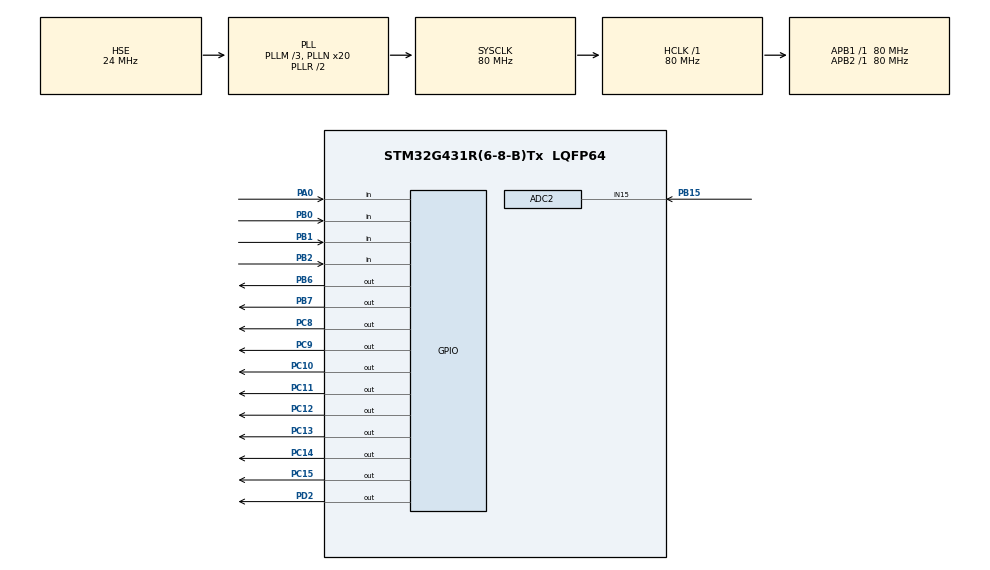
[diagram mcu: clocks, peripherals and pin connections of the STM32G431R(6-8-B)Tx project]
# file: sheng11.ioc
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ADC2.Channel-0\#ChannelRegularConversion=ADC_CHANNEL_15
ADC2.NbrOfConversionFlag=1
ADC2.OffsetNumber-0\#ChannelRegularConversion=ADC_OFFSET_NONE
ADC2.Rank-0\#ChannelRegularConversion=1
ADC2.SamplingTime-0\#ChannelRegularConversion=ADC_SAMPLETIME_2CYCLES_5
Mcu.Family=STM32G4
Mcu.Name=STM32G431R(6-8-B)Tx
Mcu.Package=LQFP64
NVIC.PriorityGroup=NVIC_PRIORITYGROUP_4
NVIC.TIM4_IRQn=true\:0\:0\:false\:false\:true\:true\:true\:true
NVIC.TIM6_DAC_IRQn=true\:0\:0\:false\:false\:true\:true\:true\:true
PA0.GPIO_Mode=GPIO_MODE_INPUT
PA0.GPIO_PuPd=GPIO_PULLUP
PA0.Signal=GPIO_Input
PA13.Mode=Serial_Wire
PA13.Signal=SYS_JTMS-SWDIO
PA14.Mode=Serial_Wire
PA14.Signal=SYS_JTCK-SWCLK
PB0.GPIO_Mode=GPIO_MODE_INPUT
PB0.GPIO_PuPd=GPIO_PULLUP
PB0.Signal=GPIO_Input
PB1.GPIO_Mode=GPIO_MODE_INPUT
PB1.GPIO_PuPd=GPIO_PULLUP
PB1.Signal=GPIO_Input
PB15.Mode=IN15-Single-Ended
PB15.Signal=ADC2_IN15
PB2.GPIO_Mode=GPIO_MODE_INPUT
PB2.GPIO_PuPd=GPIO_PULLUP
PB2.Signal=GPIO_Input
PB6.Signal=GPIO_Output
PB7.Signal=GPIO_Output
PC10.GPIO_ModeDefaultOutputPP=GPIO_MODE_OUTPUT_PP
PC10.GPIO_PuPd=GPIO_NOPULL
PC10.GPIO_Speed=GPIO_SPEED_FREQ_LOW
PC10.PinState=GPIO_PIN_SET
PC10.Signal=GPIO_Output
PC11.GPIO_ModeDefaultOutputPP=GPIO_MODE_OUTPUT_PP
PC11.GPIO_PuPd=GPIO_NOPULL
PC11.GPIO_Speed=GPIO_SPEED_FREQ_LOW
PC11.PinState=GPIO_PIN_SET
PC11.Signal=GPIO_Output
PC12.GPIO_ModeDefaultOutputPP=GPIO_MODE_OUTPUT_PP
PC12.GPIO_PuPd=GPIO_NOPULL
PC12.GPIO_Speed=GPIO_SPEED_FREQ_LOW
PC12.PinState=GPIO_PIN_SET
PC12.Signal=GPIO_Output
PC13.GPIO_ModeDefaultOutputPP=GPIO_MODE_OUTPUT_PP
PC13.GPIO_PuPd=GPIO_NOPULL
PC13.GPIO_Speed=GPIO_SPEED_FREQ_LOW
PC13.PinState=GPIO_PIN_SET
PC13.Signal=GPIO_Output
PC14-OSC32_IN.GPIO_ModeDefaultOutputPP=GPIO_MODE_OUTPUT_PP
PC14-OSC32_IN.GPIO_PuPd=GPIO_NOPULL
PC14-OSC32_IN.GPIO_Speed=GPIO_SPEED_FREQ_LOW
PC14-OSC32_IN.PinState=GPIO_PIN_SET
PC14-OSC32_IN.Signal=GPIO_Output
PC15-OSC32_OUT.GPIO_ModeDefaultOutputPP=GPIO_MODE_OUTPUT_PP
PC15-OSC32_OUT.GPIO_PuPd=GPIO_NOPULL
PC15-OSC32_OUT.GPIO_Speed=GPIO_SPEED_FREQ_LOW
PC15-OSC32_OUT.PinState=GPIO_PIN_SET
PC15-OSC32_OUT.Signal=GPIO_Output
PC8.GPIO_ModeDefaultOutputPP=GPIO_MODE_OUTPUT_PP
PC8.GPIO_PuPd=GPIO_NOPULL
PC8.GPIO_Speed=GPIO_SPEED_FREQ_LOW
PC8.PinState=GPIO_PIN_SET
PC8.Signal=GPIO_Output
PC9.GPIO_ModeDefaultOutputPP=GPIO_MODE_OUTPUT_PP
PC9.GPIO_PuPd=GPIO_NOPULL
PC9.GPIO_Speed=GPIO_SPEED_FREQ_LOW
PC9.PinState=GPIO_PIN_SET
PC9.Signal=GPIO_Output
PD2.Signal=GPIO_Output
PF0-OSC_IN.Mode=HSE-External-Oscillator
PF0-OSC_IN.Signal=RCC_OSC_IN
PF1-OSC_OUT.Mode=HSE-External-Oscillator
PF1-OSC_OUT.Signal=RCC_OSC_OUT
ProjectManager.HeapSize=0x200
ProjectManager.StackSize=0x400
ProjectManager.TargetToolchain=MDK-ARM V5.32
RCC.ADC12Freq_Value=80000000
RCC.AHBFreq_Value=80000000
RCC.APB1Freq_Value=80000000
RCC.APB1TimFreq_Value=80000000
RCC.APB2Freq_Value=80000000
RCC.APB2TimFreq_Value=80000000
RCC.CortexFreq_Value=80000000
RCC.EXTERNAL_CLOCK_VALUE=12288000
RCC.HCLKFreq_Value=80000000
RCC.HSE_VALUE=24000000
RCC.HSI48_VALUE=48000000
RCC.HSI_VALUE=16000000
RCC.LSE_VALUE=32768
RCC.PLLM=RCC_PLLM_DIV3
RCC.PLLN=20
RCC.PLLSourceVirtual=RCC_PLLSOURCE_HSE
RCC.SYSCLKFreq_VALUE=80000000
RCC.SYSCLKSource=RCC_SYSCLKSOURCE_PLLCLK
RCC.USBFreq_Value=80000000
RCC.VCOOutputFreq_Value=160000000
TIM17.PeriodNoDither=1000-1
TIM17.Prescaler=400-1
TIM4.PeriodNoDither=10000-1
TIM4.Prescaler=80-1
TIM6.PeriodNoDither=40000-1
TIM6.Prescaler=2000-1
VP_SYS_VS_DBSignals.Mode=DisableDeadBatterySignals
VP_TIM17_VS_ClockSourceINT.Mode=Enable_Timer
VP_TIM4_VS_ClockSourceINT.Mode=Internal
VP_TIM6_VS_ClockSourceINT.Mode=Enable_Timer
board=custom

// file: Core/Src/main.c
/* USER CODE BEGIN Header */
/**
  ******************************************************************************
  * @file           : main.c
  * @brief          : Main program body
  ******************************************************************************
  * @attention
  *
  * Copyright (c) 2024 STMicroelectronics.
  * All rights reserved.
  *
  * This software is licensed under terms that can be found in the LICENSE file
  * in the root directory of this software component.
  * If no LICENSE file comes with this software, it is provided AS-IS.
  *
  ******************************************************************************
  */
/* USER CODE END Header */
#include "main.h"
#include "adc.h"
#include "tim.h"
#include "gpio.h"

/* USER CODE BEGIN Includes */
#include "led.h"
#include "lcd.h"
#include "interrupt.h"
#include "stdio.h"
#include "badc.h"
#include "i2c_hal.h"

/* USER CODE END Includes */

/* USER CODE BEGIN PV */
extern struct keys key[];
bool view=0;

extern uint time_count;
double Vmax=3.0;
double Vmin=1.0;
double Vmax_temp=3.0;
double Vmin_temp=1.0;

uchar eep_test=0;

uint time_start_flag=1;
uint time_stop_flag=1;

bool led1_flag=0;
bool led2_flag=0;
bool eep_flag=0;
/* USER CODE END PV */

void SystemClock_Config(void);

/* USER CODE BEGIN 0 */
void key_proc(void);
void lcd_proc(void);
void led_proc(void);
void para_judge(void);
void adc_timer_proc(void);

/* USER CODE END 0 */

int main(void)
{

  /* MCU Configuration--------------------------------------------------------*/

  /* Reset of all peripherals, Initializes the Flash interface and the Systick. */
  HAL_Init();

  /* Configure the system clock */
  SystemClock_Config();

  /* Initialize all configured peripherals */
  MX_GPIO_Init();
  MX_TIM4_Init();
  MX_TIM17_Init();
  MX_ADC2_Init();
  MX_TIM6_Init();
  /* USER CODE BEGIN 2 */

	LCD_Init();				//LCD初始化
	I2CInit();				//I2C初始化

  /* USER CODE END 2 */

  /* Infinite loop */
  /* USER CODE BEGIN WHILE */

  	LED_Dsp(0x00);                //led初始化

	LCD_Clear(Black);
    LCD_SetBackColor(Black);
    LCD_SetTextColor(White);

	HAL_TIM_Base_Start_IT(&htim4);			//打开tim4

  while (1)
  {
    /* USER CODE END WHILE */

    /* USER CODE BEGIN 3 */
	  if(eep_flag==1)
	  {
		eeprom_write(1,111);
		  HAL_Delay(10);
		  eep_flag=0;
	  }
	  eep_test=eeprom_read(1);
	  if(eeprom_read(1)==111)
	  {
		  LED_Dsp(0x01);
	  }
	  else LED_Dsp(0x00);

	  lcd_proc();
	  key_proc();
	  led_proc();
	  adc_timer_proc();
  }
  /* USER CODE END 3 */
}

void SystemClock_Config(void)
{
  RCC_OscInitTypeDef RCC_OscInitStruct = {0};
  RCC_ClkInitTypeDef RCC_ClkInitStruct = {0};

  /** Configure the main internal regulator output voltage
  */
  HAL_PWREx_ControlVoltageScaling(PWR_REGULATOR_VOLTAGE_SCALE1);

  /** Initializes the RCC Oscillators according to the specified parameters
  * in the RCC_OscInitTypeDef structure.
  */
  RCC_OscInitStruct.OscillatorType = RCC_OSCILLATORTYPE_HSE;
  RCC_OscInitStruct.HSEState = RCC_HSE_ON;
  RCC_OscInitStruct.PLL.PLLState = RCC_PLL_ON;
  RCC_OscInitStruct.PLL.PLLSource = RCC_PLLSOURCE_HSE;
  RCC_OscInitStruct.PLL.PLLM = RCC_PLLM_DIV3;
  RCC_OscInitStruct.PLL.PLLN = 20;
  RCC_OscInitStruct.PLL.PLLP = RCC_PLLP_DIV2;
  RCC_OscInitStruct.PLL.PLLQ = RCC_PLLQ_DIV2;
  RCC_OscInitStruct.PLL.PLLR = RCC_PLLR_DIV2;
  if (HAL_RCC_OscConfig(&RCC_OscInitStruct) != HAL_OK)
  {
    Error_Handler();
  }

  /** Initializes the CPU, AHB and APB buses clocks
  */
  RCC_ClkInitStruct.ClockType = RCC_CLOCKTYPE_HCLK|RCC_CLOCKTYPE_SYSCLK
                              |RCC_CLOCKTYPE_PCLK1|RCC_CLOCKTYPE_PCLK2;
  RCC_ClkInitStruct.SYSCLKSource = RCC_SYSCLKSOURCE_PLLCLK;
  RCC_ClkInitStruct.AHBCLKDivider = RCC_SYSCLK_DIV1;
  RCC_ClkInitStruct.APB1CLKDivider = RCC_HCLK_DIV1;
  RCC_ClkInitStruct.APB2CLKDivider = RCC_HCLK_DIV1;

  if (HAL_RCC_ClockConfig(&RCC_ClkInitStruct, FLASH_LATENCY_2) != HAL_OK)
  {
    Error_Handler();
  }
}

/* USER CODE BEGIN 4 */
void key_proc(void)
{
	if(key[0].singel_flag==1)
	{
		view=!view;
		LCD_Clear(Black);
		key[0].singel_flag=0;
	}
	if(key[1].singel_flag==1)
	{
		if(view==1)
		{
			Vmax_temp+=0.1;
			if(Vmax_temp>3.3)Vmax_temp=0.0;
		}
		key[1].singel_flag=0;
	}
	if(key[2].singel_flag==1)
	{
		if(view==1)
		{
			Vmin_temp+=0.1;
			if(Vmin_temp>3.3)Vmin_temp=0.0;
		}
		key[2].singel_flag=0;
	}
	if(key[3].singel_flag==1)
	{
		eep_flag=1;
		key[3].singel_flag=0;
		LCD_ClearLine(Line6);
	}

}

void adc_timer_proc()
{
	double Vadc=getADC(&hadc2);
	if(Vadc<Vmin)
	{
		time_start_flag=0;
	}

	if(Vadc>Vmin&&Vadc<Vmax)
	{
		if(time_start_flag==0)				//开始计时
		{
		LCD_Clear(Black);
		time_count=0;
		HAL_TIM_Base_Start_IT(&htim6);
		led1_flag=1;
		time_start_flag=1;
		time_stop_flag=0;
		}
	}
	if(Vadc>Vmax)							//结束计时
	{
		if(time_stop_flag==0)
		{
		HAL_TIM_Base_Stop_IT(&htim6);
		led1_flag=0;
		time_stop_flag=1;
		}
	}

}

void led_proc(void)
{
	  if(led2_flag&&led1_flag)
		  LED_Dsp(0x03);
	  else if(led2_flag)
		  LED_Dsp(0x02);
	  else if(led1_flag)
		  LED_Dsp(0x01);
	  else if(led2_flag==0&&led1_flag==0)
		  LED_Dsp(0x00);
}

void para_judge()
{
	if(Vmax_temp-Vmin_temp>=1.0)
	{
		Vmax=Vmax_temp;
		Vmin=Vmin_temp;
		led2_flag=0;
	}
	else
	{
		led2_flag=1;
	}
}
void lcd_proc(void)
{

	char text[30];
	if(view==0)												//默认数据界面
	{
		para_judge();										//判断参数是否符合条件

		sprintf(text,"       Data");
	LCD_DisplayStringLine(Line0, (unsigned char *)text);
		sprintf(text," V:%.1lf",getADC(&hadc2));
	LCD_DisplayStringLine(Line2, (unsigned char *)text);
		sprintf(text," T:%d",time_count);
	LCD_DisplayStringLine(Line3, (unsigned char *)text);
		sprintf(text," vmax:%.1lf",Vmax);
	LCD_DisplayStringLine(Line4, (unsigned char *)text);
		sprintf(text," vmin:%.1lf",Vmin);
	LCD_DisplayStringLine(Line5, (unsigned char *)text);
		sprintf(text," eep_test:%d",eep_test);
	LCD_DisplayStringLine(Line6, (unsigned char *)text);
	}
	else if(view==1)										//参数界面
	{

		sprintf(text,"       Para");
	LCD_DisplayStringLine(Line0, (unsigned char *)text);
		sprintf(text," Vmax:%.1lf",Vmax_temp);
	LCD_DisplayStringLine(Line2, (unsigned char *)text);
		sprintf(text," Vmin:%.1lf",Vmin_temp);
	LCD_DisplayStringLine(Line3, (unsigned char *)text);
	}
}
/* USER CODE END 4 */

void Error_Handler(void)
{
  __disable_irq();
  while (1)
  {
  }
}
